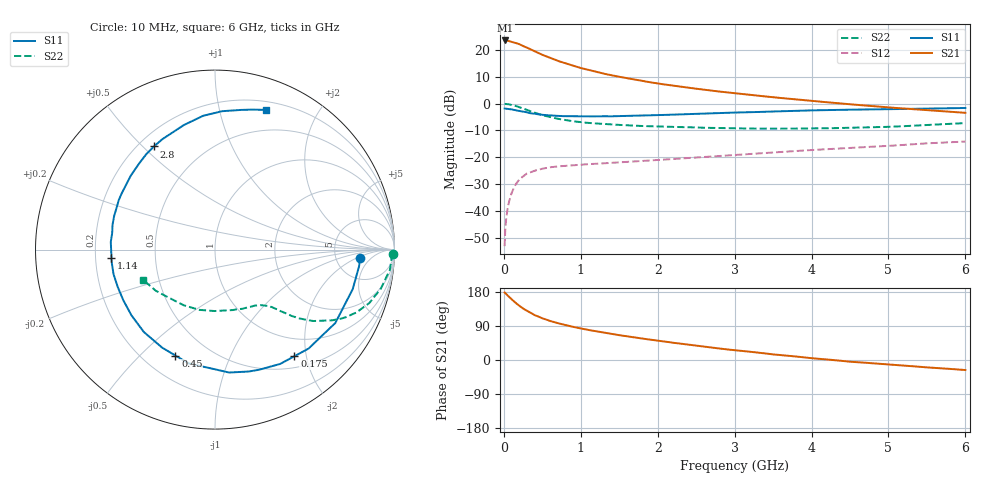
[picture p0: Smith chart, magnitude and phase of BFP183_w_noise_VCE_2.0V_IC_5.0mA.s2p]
! Infineon Technologies  Discrete & RF Semiconductors
! BFP183
! VCE = 2.0 V,  IC =  5.0 mA
! Common Emitter S-Parameters:  Jan 2016
# GHz  S  MA  R  50
!  f  S11  S21  S12  S22
! GHz  MAG  ANG  MAG  ANG  MAG  ANG  MAG  ANG
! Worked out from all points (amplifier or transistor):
!   210 points, 10 MHz to 6 GHz, reference 50 ohm
!   highest |S21| = 23.6 dB at 20 MHz (marker M1)
!   |S21| within 3 dB of that: start of sweep to 324.8 MHz
!   unconditionally stable (mu >= 1): 1.536 GHz to 5.731 GHz
!   at 185 MHz: K = 0.17, MSG = 25.6 dB, |S12| = -28.9 dB
!   at 1.52 GHz: K = 1.00, MSG = 15.9 dB, |S12| = -21.9 dB
!   at 6 GHz: K = 0.95, MSG = 5.4 dB, |S12| = -14.1 dB
!   lowest NFmin = 1.15 dB at 450 MHz
!   S11 on the Smith chart (normalised r, x): 10 MHz: 8.91, -2.43; 175 MHz: 0.68, -1.79; 450 MHz: 0.33, -0.64; 1.14 GHz: 0.27, -0.04; 2.8 GHz: 0.26, +0.54; 6 GHz: 0.28, +1.40
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0.01  0.811 -3.3  14.89 178.1  0.0022 84.8  0.9929 -1.4
0.02  0.8079 -6.7  15.05 176.4  0.0049 88.2  0.985 -2.7
0.05  0.7983 -16.0  14.93 170.0  0.0112 82.8  0.9807 -6.7
0.1  0.7852 -31.4  14.2 160.4  0.0213 73.3  0.9495 -13.2
0.15  0.7588 -46.6  13.65 151.2  0.0305 67.1  0.9107 -19.0
0.175  0.7407 -53.3  13.22 147.3  0.0344 63.5  0.8856 -21.4
0.22  0.7206 -65.0  12.44 140.3  0.0406 58.3  0.8418 -25.5
0.3  0.6895 -83.4  11.08 129.7  0.0498 51.1  0.7629 -31.1
0.4  0.6505 -103.1  9.511 118.4  0.0563 43.8  0.677 -36.0
0.45  0.63 -110.5  8.799 114.5  0.0586 41.2  0.6433 -37.5
0.5  0.6206 -118.3  8.134 110.0  0.0611 38.8  0.61 -39.1
0.58  0.6071 -128.3  7.34 104.6  0.0642 36.3  0.5715 -40.6
0.7  0.5923 -141.8  6.278 97.2  0.0675 33.6  0.5226 -42.3
1.02  0.5807 -167.7  4.539 82.5  0.0729 30.2  0.4478 -45.5
1.14  0.5786 -175.4  4.108 77.9  0.0749 29.5  0.4327 -46.6
1.5  0.5874 166.4  3.165 65.5  0.0803 29.6  0.4011 -50.5
2.02  0.6119 144.9  2.351 50.5  0.0894 30.2  0.3755 -58.1
2.8  0.6678 120.6  1.68 30.3  0.1058 31.0  0.3514 -73.4
3.1  0.6858 113.2  1.511 23.8  0.113 30.8  0.3437 -80.5
4.1  0.7522 93.4  1.093 3.2  0.1389 27.9  0.3467 -107.4
5.1  0.7914 79.5  0.83 -13.3  0.1663 24.0  0.3741 -135.1
6  0.8294 69.8  0.674 -26.5  0.1963 17.1  0.4339 -157.1
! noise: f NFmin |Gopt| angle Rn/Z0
0.45  1.15  0.25  40  0.26
0.9  1.2  0.25  93  0.22
1.8  1.95  0.32  170  0.13
